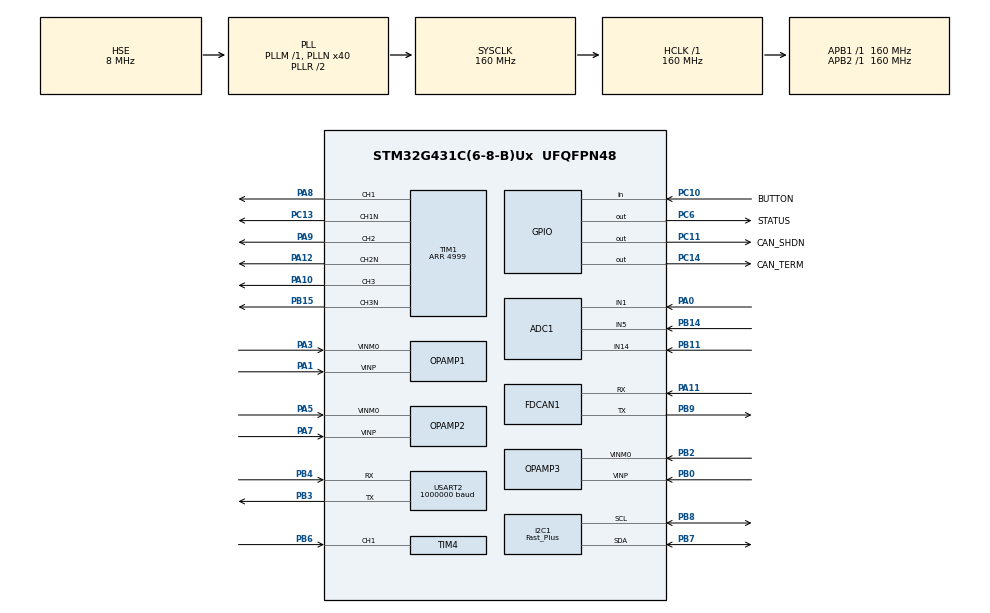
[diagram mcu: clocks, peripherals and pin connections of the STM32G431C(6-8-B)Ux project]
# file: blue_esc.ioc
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ADC1.Channel-0\#ChannelRegularConversion=ADC_CHANNEL_1
ADC1.Channel-3\#ChannelRegularConversion=ADC_CHANNEL_5
ADC1.Channel-4\#ChannelRegularConversion=ADC_CHANNEL_14
ADC1.ClockPrescaler=ADC_CLOCK_ASYNC_DIV4
ADC1.ContinuousConvMode=DISABLE
ADC1.DMAContinuousRequests=DISABLE
ADC1.EOCSelection=ADC_EOC_SEQ_CONV
ADC1.EnableRegularConversion=ENABLE
ADC1.NbrOfConversion=3
ADC1.NbrOfConversionFlag=1
ADC1.OffsetNumber-0\#ChannelRegularConversion=ADC_OFFSET_NONE
ADC1.OffsetNumber-3\#ChannelRegularConversion=ADC_OFFSET_NONE
ADC1.OffsetNumber-4\#ChannelRegularConversion=ADC_OFFSET_NONE
ADC1.Overrun=ADC_OVR_DATA_OVERWRITTEN
ADC1.Rank-0\#ChannelRegularConversion=1
ADC1.Rank-3\#ChannelRegularConversion=2
ADC1.Rank-4\#ChannelRegularConversion=3
ADC1.SamplingTime-0\#ChannelRegularConversion=ADC_SAMPLETIME_2CYCLES_5
ADC1.SamplingTime-3\#ChannelRegularConversion=ADC_SAMPLETIME_2CYCLES_5
ADC1.SamplingTime-4\#ChannelRegularConversion=ADC_SAMPLETIME_2CYCLES_5
ADC1.master=1
ADC2.Channel-0\#ChannelRegularConversion=ADC_CHANNEL_VOPAMP2
ADC2.Channel-1\#ChannelRegularConversion=ADC_CHANNEL_VOPAMP2
ADC2.Channel-2\#ChannelRegularConversion=ADC_CHANNEL_VOPAMP2
ADC2.ClockPrescaler=ADC_CLOCK_ASYNC_DIV4
ADC2.EOCSelection=ADC_EOC_SEQ_CONV
ADC2.ExternalTrigConv=ADC_EXTERNALTRIG_T1_TRGO
ADC2.NbrOfConversion=3
ADC2.NbrOfConversionFlag=1
ADC2.OffsetNumber-0\#ChannelRegularConversion=ADC_OFFSET_NONE
ADC2.OffsetNumber-1\#ChannelRegularConversion=ADC_OFFSET_NONE
ADC2.OffsetNumber-2\#ChannelRegularConversion=ADC_OFFSET_NONE
ADC2.Rank-0\#ChannelRegularConversion=1
ADC2.Rank-1\#ChannelRegularConversion=2
ADC2.Rank-2\#ChannelRegularConversion=3
ADC2.SamplingTime-0\#ChannelRegularConversion=ADC_SAMPLETIME_2CYCLES_5
ADC2.SamplingTime-1\#ChannelRegularConversion=ADC_SAMPLETIME_2CYCLES_5
ADC2.SamplingTime-2\#ChannelRegularConversion=ADC_SAMPLETIME_2CYCLES_5
Dma.ADC1.0.Direction=DMA_PERIPH_TO_MEMORY
Dma.ADC1.0.EventEnable=DISABLE
Dma.ADC1.0.Instance=DMA1_Channel1
Dma.ADC1.0.MemDataAlignment=DMA_MDATAALIGN_HALFWORD
Dma.ADC1.0.MemInc=DMA_MINC_ENABLE
Dma.ADC1.0.Mode=DMA_NORMAL
Dma.ADC1.0.PeriphDataAlignment=DMA_PDATAALIGN_HALFWORD
Dma.ADC1.0.PeriphInc=DMA_PINC_DISABLE
Dma.ADC1.0.Polarity=HAL_DMAMUX_REQ_GEN_RISING
Dma.ADC1.0.Priority=DMA_PRIORITY_LOW
Dma.ADC1.0.RequestNumber=1
Dma.ADC1.0.SignalID=NONE
Dma.ADC1.0.SyncEnable=DISABLE
Dma.ADC1.0.SyncPolarity=HAL_DMAMUX_SYNC_NO_EVENT
Dma.ADC1.0.SyncRequestNumber=1
Dma.ADC1.0.SyncSignalID=NONE
Dma.ADC2.1.Direction=DMA_PERIPH_TO_MEMORY
Dma.ADC2.1.EventEnable=DISABLE
Dma.ADC2.1.Instance=DMA1_Channel2
Dma.ADC2.1.MemDataAlignment=DMA_MDATAALIGN_HALFWORD
Dma.ADC2.1.MemInc=DMA_MINC_ENABLE
Dma.ADC2.1.Mode=DMA_CIRCULAR
Dma.ADC2.1.PeriphDataAlignment=DMA_PDATAALIGN_HALFWORD
Dma.ADC2.1.PeriphInc=DMA_PINC_DISABLE
Dma.ADC2.1.Polarity=HAL_DMAMUX_REQ_GEN_RISING
Dma.ADC2.1.Priority=DMA_PRIORITY_LOW
Dma.ADC2.1.RequestNumber=1
Dma.ADC2.1.SignalID=NONE
Dma.ADC2.1.SyncEnable=DISABLE
Dma.ADC2.1.SyncPolarity=HAL_DMAMUX_SYNC_NO_EVENT
Dma.ADC2.1.SyncRequestNumber=1
Dma.ADC2.1.SyncSignalID=NONE
Dma.Request0=ADC1
Dma.Request1=ADC2
Dma.Request2=USART2_RX
Dma.Request3=USART2_TX
Dma.USART2_RX.2.Direction=DMA_PERIPH_TO_MEMORY
Dma.USART2_RX.2.EventEnable=DISABLE
Dma.USART2_RX.2.Instance=DMA1_Channel3
Dma.USART2_RX.2.MemDataAlignment=DMA_MDATAALIGN_BYTE
Dma.USART2_RX.2.MemInc=DMA_MINC_ENABLE
Dma.USART2_RX.2.Mode=DMA_CIRCULAR
Dma.USART2_RX.2.PeriphDataAlignment=DMA_PDATAALIGN_BYTE
Dma.USART2_RX.2.PeriphInc=DMA_PINC_DISABLE
Dma.USART2_RX.2.Polarity=HAL_DMAMUX_REQ_GEN_RISING
Dma.USART2_RX.2.Priority=DMA_PRIORITY_LOW
Dma.USART2_RX.2.RequestNumber=1
Dma.USART2_RX.2.SignalID=NONE
Dma.USART2_RX.2.SyncEnable=DISABLE
Dma.USART2_RX.2.SyncPolarity=HAL_DMAMUX_SYNC_NO_EVENT
Dma.USART2_RX.2.SyncRequestNumber=1
Dma.USART2_RX.2.SyncSignalID=NONE
Dma.USART2_TX.3.Direction=DMA_MEMORY_TO_PERIPH
Dma.USART2_TX.3.EventEnable=DISABLE
Dma.USART2_TX.3.Instance=DMA1_Channel4
Dma.USART2_TX.3.MemDataAlignment=DMA_MDATAALIGN_BYTE
Dma.USART2_TX.3.MemInc=DMA_MINC_ENABLE
Dma.USART2_TX.3.Mode=DMA_NORMAL
Dma.USART2_TX.3.PeriphDataAlignment=DMA_PDATAALIGN_BYTE
Dma.USART2_TX.3.PeriphInc=DMA_PINC_DISABLE
Dma.USART2_TX.3.Polarity=HAL_DMAMUX_REQ_GEN_RISING
Dma.USART2_TX.3.Priority=DMA_PRIORITY_LOW
Dma.USART2_TX.3.RequestNumber=1
Dma.USART2_TX.3.SignalID=NONE
Dma.USART2_TX.3.SyncEnable=DISABLE
Dma.USART2_TX.3.SyncPolarity=HAL_DMAMUX_SYNC_NO_EVENT
Dma.USART2_TX.3.SyncRequestNumber=1
Dma.USART2_TX.3.SyncSignalID=NONE
FDCAN1.AutoRetransmission=ENABLE
FDCAN1.CalculateBaudRateNominal=1000000
FDCAN1.CalculateTimeBitNominal=1000
FDCAN1.CalculateTimeQuantumNominal=12.5
FDCAN1.ClockDivider=FDCAN_CLOCK_DIV2
FDCAN1.DataSyncJumpWidth=4
FDCAN1.DataTimeSeg1=5
FDCAN1.DataTimeSeg2=5
FDCAN1.NominalPrescaler=1
FDCAN1.NominalSyncJumpWidth=16
FDCAN1.NominalTimeSeg1=63
FDCAN1.NominalTimeSeg2=16
FDCAN1.StdFiltersNbr=1
FDCAN1.TransmitPause=ENABLE
I2C1.I2C_Speed_Mode=I2C_Fast_Plus
I2C1.Timing=0x00701F6B
Mcu.Family=STM32G4
Mcu.Name=STM32G431C(6-8-B)Ux
Mcu.Package=UFQFPN48
NVIC.ADC1_2_IRQn=true\:0\:0\:false\:false\:true\:true\:true\:true
NVIC.CORDIC_IRQn=true\:0\:0\:false\:false\:true\:true\:true\:true
NVIC.DMA1_Channel1_IRQn=true\:0\:0\:false\:false\:true\:false\:true\:true
NVIC.DMA1_Channel2_IRQn=true\:0\:0\:false\:false\:true\:false\:true\:true
NVIC.DMA1_Channel3_IRQn=true\:0\:0\:false\:false\:true\:false\:true\:true
NVIC.DMA1_Channel4_IRQn=true\:0\:0\:false\:false\:true\:false\:true\:true
NVIC.FDCAN1_IT0_IRQn=true\:0\:0\:false\:false\:true\:true\:true\:true
NVIC.PriorityGroup=NVIC_PRIORITYGROUP_4
NVIC.TIM1_UP_TIM16_IRQn=true\:0\:0\:false\:false\:true\:true\:true\:true
NVIC.TIM4_IRQn=true\:0\:0\:false\:false\:true\:true\:true\:true
NVIC.USART2_IRQn=true\:0\:0\:false\:false\:true\:true\:true\:true
OPAMP1.PgaGain=OPAMP_PGA_GAIN_16_OR_MINUS_15
OPAMP2.PgaGain=OPAMP_PGA_GAIN_16_OR_MINUS_15
OPAMP3.PgaGain=OPAMP_PGA_GAIN_16_OR_MINUS_15
PA0.Mode=IN1-Single-Ended
PA0.Signal=ADC1_IN1
PA1.Mode=PGA Internally connected_IO0_BIAS
PA1.Signal=OPAMP1_VINP
PA10.Signal=S_TIM1_CH3
PA11.Mode=FDCAN_Activate
PA11.Signal=FDCAN1_RX
PA12.Mode=PWM Generation2 CH2 CH2N
PA12.Signal=TIM1_CH2N
PA13.Mode=Serial_Wire
PA13.Signal=SYS_JTMS-SWDIO
PA14.Mode=Serial_Wire
PA14.Signal=SYS_JTCK-SWCLK
PA3.Mode=PGA Internally connected_IO0_BIAS
PA3.Signal=OPAMP1_VINM0
PA5.Mode=PGA Internally connected_IO0_BIAS
PA5.Signal=OPAMP2_VINM0
PA7.Mode=PGA Internally connected_IO0_BIAS
PA7.Signal=OPAMP2_VINP
PA8.Signal=S_TIM1_CH1
PA9.Signal=S_TIM1_CH2
PB0.Mode=PGA Internally connected_IO0_BIAS
PB0.Signal=OPAMP3_VINP
PB11.Mode=IN14-Single-Ended
PB11.Signal=ADC1_IN14
PB14.Mode=IN5-Single-Ended
PB14.Signal=ADC1_IN5
PB15.Mode=PWM Generation3 CH3 CH3N
PB15.Signal=TIM1_CH3N
PB2.Mode=PGA Internally connected_IO0_BIAS
PB2.Signal=OPAMP3_VINM0
PB3.Mode=Asynchronous
PB3.Signal=USART2_TX
PB4.Mode=Asynchronous
PB4.Signal=USART2_RX
PB6.Signal=S_TIM4_CH1
PB7.Mode=I2C
PB7.Signal=I2C1_SDA
PB8-BOOT0.Mode=I2C
PB8-BOOT0.Signal=I2C1_SCL
PB9.Mode=FDCAN_Activate
PB9.Signal=FDCAN1_TX
PC10.GPIO_Label=BUTTON
PC10.Signal=GPIO_Input
PC11.GPIO_Label=CAN_SHDN
PC11.Signal=GPIO_Output
PC13.Mode=PWM Generation1 CH1 CH1N
PC13.Signal=TIM1_CH1N
PC14-OSC32_IN.GPIO_Label=CAN_TERM
PC14-OSC32_IN.Signal=GPIO_Output
PC6.GPIO_Label=STATUS
PC6.Signal=GPIO_Output
PF0-OSC_IN.Mode=HSE-External-Oscillator
PF0-OSC_IN.Signal=RCC_OSC_IN
PF1-OSC_OUT.Mode=HSE-External-Oscillator
PF1-OSC_OUT.Signal=RCC_OSC_OUT
ProjectManager.HeapSize=0x200
ProjectManager.StackSize=0x400
ProjectManager.TargetToolchain=Makefile
RCC.ADC12Freq_Value=160000000
RCC.AHBFreq_Value=160000000
RCC.APB1Freq_Value=160000000
RCC.APB1TimFreq_Value=160000000
RCC.APB2Freq_Value=160000000
RCC.APB2TimFreq_Value=160000000
RCC.CortexFreq_Value=160000000
RCC.EXTERNAL_CLOCK_VALUE=12288000
RCC.HCLKFreq_Value=160000000
RCC.HSE_VALUE=8000000
RCC.HSI48_VALUE=48000000
RCC.HSI_VALUE=16000000
RCC.LSE_VALUE=32768
RCC.PLLN=40
RCC.PLLSourceVirtual=RCC_PLLSOURCE_HSE
RCC.SYSCLKFreq_VALUE=160000000
RCC.SYSCLKSource=RCC_SYSCLKSOURCE_PLLCLK
RCC.USBFreq_Value=160000000
RCC.VCOOutputFreq_Value=320000000
SH.S_TIM1_CH1.0=TIM1_CH1,PWM Generation1 CH1 CH1N
SH.S_TIM1_CH2.0=TIM1_CH2,PWM Generation2 CH2 CH2N
SH.S_TIM1_CH3.0=TIM1_CH3,PWM Generation3 CH3 CH3N
SH.S_TIM4_CH1.0=TIM4_CH1,PWM_Input_1
TIM1.Channel-PWM\ Generation1\ CH1\ CH1N=TIM_CHANNEL_1
TIM1.Channel-PWM\ Generation2\ CH2\ CH2N=TIM_CHANNEL_2
TIM1.Channel-PWM\ Generation3\ CH3\ CH3N=TIM_CHANNEL_3
TIM1.CounterMode=TIM_COUNTERMODE_CENTERALIGNED1
TIM1.DeadTime=128
TIM1.PeriodNoDither=4999
TIM1.TIM_MasterOutputTrigger=TIM_TRGO_OC1REF
TIM1.TIM_MasterSlaveMode=TIM_MASTERSLAVEMODE_ENABLE
TIM4.Prescaler=2
TIM6.Prescaler=15
USART2.BaudRate=1000000
USART2.VirtualMode-Asynchronous=VM_ASYNC
VP_ADC1_OPAMP_INTERNAL1.Mode=IN-OPAMP1
VP_ADC2_OPAMP_INTERNAL2.Mode=IN-OPAMP2
VP_ADC2_OPAMP_INTERNAL3.Mode=IN-OPAMP3
VP_CORDIC_VS_CORDIC.Mode=CORDIC_Activate
VP_SYS_VS_DBSignals.Mode=DisableDeadBatterySignals
VP_TIM1_VS_ClockSourceINT.Mode=Internal
VP_TIM6_VS_ClockSourceINT.Mode=Enable_Timer
board=custom

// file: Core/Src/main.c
/* USER CODE BEGIN Header */
/**
 ******************************************************************************
 * @file           : main.c
 * @brief          : Main program body
 ******************************************************************************
 * @attention
 *
 * Copyright (c) 2023 STMicroelectronics.
 * All rights reserved.
 *
 * This software is licensed under terms that can be found in the LICENSE file
 * in the root directory of this software component.
 * If no LICENSE file comes with this software, it is provided AS-IS.
 *
 ******************************************************************************
 */
/* USER CODE END Header */
#include "main.h"

/* USER CODE BEGIN Includes */
// #include "foc.h"
#include "stdio.h"
#include "string.h"
/* USER CODE END Includes */

ADC_HandleTypeDef hadc1;
ADC_HandleTypeDef hadc2;
DMA_HandleTypeDef hdma_adc1;
DMA_HandleTypeDef hdma_adc2;

CORDIC_HandleTypeDef hcordic;

FDCAN_HandleTypeDef hfdcan1;

I2C_HandleTypeDef hi2c1;

OPAMP_HandleTypeDef hopamp1;
OPAMP_HandleTypeDef hopamp2;
OPAMP_HandleTypeDef hopamp3;

TIM_HandleTypeDef htim1;
TIM_HandleTypeDef htim4;
TIM_HandleTypeDef htim6;

UART_HandleTypeDef huart2;
DMA_HandleTypeDef hdma_usart2_rx;
DMA_HandleTypeDef hdma_usart2_tx;

/* USER CODE BEGIN PV */
volatile uint8_t adc_conversion_complete = 0;
/* USER CODE END PV */

void SystemClock_Config(void);
static void MX_GPIO_Init(void);
static void MX_DMA_Init(void);
static void MX_ADC1_Init(void);
static void MX_TIM1_Init(void);
static void MX_TIM4_Init(void);
static void MX_TIM6_Init(void);
static void MX_ADC2_Init(void);
static void MX_OPAMP1_Init(void);
static void MX_OPAMP2_Init(void);
static void MX_OPAMP3_Init(void);
static void MX_FDCAN1_Init(void);
static void MX_I2C1_Init(void);
static void MX_USART2_UART_Init(void);
static void MX_CORDIC_Init(void);

/* USER CODE BEGIN 0 */

uint16_t start_time = 0;
uint16_t end_time = 0;
uint16_t elapsed_time = 0;

volatile uint16_t ADC1_DMA1[5] = {0, 0, 0, 0, 0}; // Dummy conversion (ST workaround for -x),

void HAL_TIM_PeriodElapsedCallback(TIM_HandleTypeDef *htim)
{
  if (htim->Instance == TIM1)
  {
    start_time = __HAL_TIM_GET_COUNTER(&htim6);
    HAL_GPIO_TogglePin(STATUS_GPIO_Port, STATUS_Pin);

    // ##################
    // Put FOC Code Here
    // ##################

    end_time = __HAL_TIM_GET_COUNTER(&htim6);
  }
}

// current sense
void HAL_ADC_ConvCpltCallback(ADC_HandleTypeDef *hadc)
{
  adc_conversion_complete = 1;
  // HAL_GPIO_TogglePin(STATUS_GPIO_Port, STATUS_Pin);

  // adc_interrupt(hadc);
}

/* USER CODE END 0 */

int main(void)
{

  /* MCU Configuration--------------------------------------------------------*/

  /* Reset of all peripherals, Initializes the Flash interface and the Systick. */
  HAL_Init();

  /* Configure the system clock */
  SystemClock_Config();

  /* Initialize all configured peripherals */
  MX_GPIO_Init();
  MX_DMA_Init();
  MX_ADC1_Init();
  MX_TIM1_Init();
  MX_TIM4_Init();
  MX_TIM6_Init();
  MX_ADC2_Init();
  MX_OPAMP1_Init();
  MX_OPAMP2_Init();
  MX_OPAMP3_Init();
  MX_FDCAN1_Init();
  MX_I2C1_Init();
  MX_USART2_UART_Init();
  MX_CORDIC_Init();
  /* USER CODE BEGIN 2 */

  // 1*10^(-7)s Base Timer Begin (used for time calculation)
  HAL_TIM_Base_Start(&htim6);

  // PWM Begin
  // HAL_TIM_PWM_Start(&htim1, TIM_CHANNEL_1);
  // HAL_TIM_PWM_Start(&htim1, TIM_CHANNEL_2);
  // HAL_TIM_PWM_Start(&htim1, TIM_CHANNEL_3);
  // HAL_TIM_Base_Start_IT(&htim1);

  // init_foc();

  // HAL_ADCEx_Calibration_Start(&hadc1,ADC_SINGLE_ENDED);

  // HAL_ADC_Start_DMA(&hadc1, (uint32_t *)ADC1_DMA1, 1);
  char txbuf[100];
  /* USER CODE END 2 */

  /* Infinite loop */
  while (1)
  {

    /* USER CODE BEGIN 3 */
     HAL_ADC_Start_DMA(&hadc1, (uint32_t *)ADC1_DMA1, 3);
     while(adc_conversion_complete == 0)
     {
        snprintf(txbuf, 100, "Nothing\n");
        HAL_UART_Transmit(&huart2, (uint8_t *)txbuf, strlen(txbuf), HAL_MAX_DELAY);
        // HAL_ADC_Start_DMA(&hadc1, (uint32_t *)ADC1_DMA1, 1);/
     }
     adc_conversion_complete = 0;
     snprintf(txbuf, 100, "CH1 = %d\tCH2 = %d\tCH3 = %d\tCH4 = %d\n", ADC1_DMA1[0], ADC1_DMA1[1], ADC1_DMA1[2], ADC1_DMA1[3]);
     HAL_UART_Transmit(&huart2, (uint8_t *)txbuf, strlen(txbuf), HAL_MAX_DELAY);

     HAL_GPIO_TogglePin(STATUS_GPIO_Port, STATUS_Pin);
     HAL_Delay(100);

  }
  /* USER CODE END 3 */
}

void SystemClock_Config(void)
{
  RCC_OscInitTypeDef RCC_OscInitStruct = {0};
  RCC_ClkInitTypeDef RCC_ClkInitStruct = {0};

  /** Configure the main internal regulator output voltage
  */
  HAL_PWREx_ControlVoltageScaling(PWR_REGULATOR_VOLTAGE_SCALE1_BOOST);

  /** Initializes the RCC Oscillators according to the specified parameters
  * in the RCC_OscInitTypeDef structure.
  */
  RCC_OscInitStruct.OscillatorType = RCC_OSCILLATORTYPE_HSE;
  RCC_OscInitStruct.HSEState = RCC_HSE_ON;
  RCC_OscInitStruct.PLL.PLLState = RCC_PLL_ON;
  RCC_OscInitStruct.PLL.PLLSource = RCC_PLLSOURCE_HSE;
  RCC_OscInitStruct.PLL.PLLM = RCC_PLLM_DIV1;
  RCC_OscInitStruct.PLL.PLLN = 40;
  RCC_OscInitStruct.PLL.PLLP = RCC_PLLP_DIV2;
  RCC_OscInitStruct.PLL.PLLQ = RCC_PLLQ_DIV2;
  RCC_OscInitStruct.PLL.PLLR = RCC_PLLR_DIV2;
  if (HAL_RCC_OscConfig(&RCC_OscInitStruct) != HAL_OK)
  {
    Error_Handler();
  }

  /** Initializes the CPU, AHB and APB buses clocks
  */
  RCC_ClkInitStruct.ClockType = RCC_CLOCKTYPE_HCLK|RCC_CLOCKTYPE_SYSCLK
                              |RCC_CLOCKTYPE_PCLK1|RCC_CLOCKTYPE_PCLK2;
  RCC_ClkInitStruct.SYSCLKSource = RCC_SYSCLKSOURCE_PLLCLK;
  RCC_ClkInitStruct.AHBCLKDivider = RCC_SYSCLK_DIV1;
  RCC_ClkInitStruct.APB1CLKDivider = RCC_HCLK_DIV1;
  RCC_ClkInitStruct.APB2CLKDivider = RCC_HCLK_DIV1;

  if (HAL_RCC_ClockConfig(&RCC_ClkInitStruct, FLASH_LATENCY_4) != HAL_OK)
  {
    Error_Handler();
  }
}

static void MX_ADC1_Init(void)
{

  ADC_MultiModeTypeDef multimode = {0};
  ADC_ChannelConfTypeDef sConfig = {0};

  /** Common config
  */
  hadc1.Instance = ADC1;
  hadc1.Init.ClockPrescaler = ADC_CLOCK_ASYNC_DIV4;
  hadc1.Init.Resolution = ADC_RESOLUTION_12B;
  hadc1.Init.DataAlign = ADC_DATAALIGN_RIGHT;
  hadc1.Init.GainCompensation = 0;
  hadc1.Init.ScanConvMode = ADC_SCAN_ENABLE;
  hadc1.Init.EOCSelection = ADC_EOC_SEQ_CONV;
  hadc1.Init.LowPowerAutoWait = DISABLE;
  hadc1.Init.ContinuousConvMode = DISABLE;
  hadc1.Init.NbrOfConversion = 3;
  hadc1.Init.DiscontinuousConvMode = DISABLE;
  hadc1.Init.ExternalTrigConv = ADC_SOFTWARE_START;
  hadc1.Init.ExternalTrigConvEdge = ADC_EXTERNALTRIGCONVEDGE_NONE;
  hadc1.Init.DMAContinuousRequests = DISABLE;
  hadc1.Init.Overrun = ADC_OVR_DATA_OVERWRITTEN;
  hadc1.Init.OversamplingMode = DISABLE;
  if (HAL_ADC_Init(&hadc1) != HAL_OK)
  {
    Error_Handler();
  }

  /** Configure the ADC multi-mode
  */
  multimode.Mode = ADC_MODE_INDEPENDENT;
  if (HAL_ADCEx_MultiModeConfigChannel(&hadc1, &multimode) != HAL_OK)
  {
    Error_Handler();
  }

  /** Configure Regular Channel
  */
  sConfig.Channel = ADC_CHANNEL_1;
  sConfig.Rank = ADC_REGULAR_RANK_1;
  sConfig.SamplingTime = ADC_SAMPLETIME_2CYCLES_5;
  sConfig.SingleDiff = ADC_SINGLE_ENDED;
  sConfig.OffsetNumber = ADC_OFFSET_NONE;
  sConfig.Offset = 0;
  if (HAL_ADC_ConfigChannel(&hadc1, &sConfig) != HAL_OK)
  {
    Error_Handler();
  }

  /** Configure Regular Channel
  */
  sConfig.Channel = ADC_CHANNEL_5;
  sConfig.Rank = ADC_REGULAR_RANK_2;
  if (HAL_ADC_ConfigChannel(&hadc1, &sConfig) != HAL_OK)
  {
    Error_Handler();
  }

  /** Configure Regular Channel
  */
  sConfig.Channel = ADC_CHANNEL_14;
  sConfig.Rank = ADC_REGULAR_RANK_3;
  if (HAL_ADC_ConfigChannel(&hadc1, &sConfig) != HAL_OK)
  {
    Error_Handler();
  }

}

static void MX_ADC2_Init(void)
{

  ADC_ChannelConfTypeDef sConfig = {0};

  /** Common config
  */
  hadc2.Instance = ADC2;
  hadc2.Init.ClockPrescaler = ADC_CLOCK_ASYNC_DIV4;
  hadc2.Init.Resolution = ADC_RESOLUTION_12B;
  hadc2.Init.DataAlign = ADC_DATAALIGN_RIGHT;
  hadc2.Init.GainCompensation = 0;
  hadc2.Init.ScanConvMode = ADC_SCAN_ENABLE;
  hadc2.Init.EOCSelection = ADC_EOC_SEQ_CONV;
  hadc2.Init.LowPowerAutoWait = DISABLE;
  hadc2.Init.ContinuousConvMode = DISABLE;
  hadc2.Init.NbrOfConversion = 3;
  hadc2.Init.DiscontinuousConvMode = DISABLE;
  hadc2.Init.ExternalTrigConv = ADC_EXTERNALTRIG_T1_TRGO;
  hadc2.Init.ExternalTrigConvEdge = ADC_EXTERNALTRIGCONVEDGE_RISING;
  hadc2.Init.DMAContinuousRequests = DISABLE;
  hadc2.Init.Overrun = ADC_OVR_DATA_PRESERVED;
  hadc2.Init.OversamplingMode = DISABLE;
  if (HAL_ADC_Init(&hadc2) != HAL_OK)
  {
    Error_Handler();
  }

  /** Configure Regular Channel
  */
  sConfig.Channel = ADC_CHANNEL_VOPAMP2;
  sConfig.Rank = ADC_REGULAR_RANK_1;
  sConfig.SamplingTime = ADC_SAMPLETIME_2CYCLES_5;
  sConfig.SingleDiff = ADC_SINGLE_ENDED;
  sConfig.OffsetNumber = ADC_OFFSET_NONE;
  sConfig.Offset = 0;
  if (HAL_ADC_ConfigChannel(&hadc2, &sConfig) != HAL_OK)
  {
    Error_Handler();
  }

  /** Configure Regular Channel
  */
  sConfig.Rank = ADC_REGULAR_RANK_2;
  if (HAL_ADC_ConfigChannel(&hadc2, &sConfig) != HAL_OK)
  {
    Error_Handler();
  }

  /** Configure Regular Channel
  */
  sConfig.Rank = ADC_REGULAR_RANK_3;
  if (HAL_ADC_ConfigChannel(&hadc2, &sConfig) != HAL_OK)
  {
    Error_Handler();
  }

}

static void MX_CORDIC_Init(void)
{

  hcordic.Instance = CORDIC;
  if (HAL_CORDIC_Init(&hcordic) != HAL_OK)
  {
    Error_Handler();
  }

}

static void MX_FDCAN1_Init(void)
{

  hfdcan1.Instance = FDCAN1;
  hfdcan1.Init.ClockDivider = FDCAN_CLOCK_DIV2;
  hfdcan1.Init.FrameFormat = FDCAN_FRAME_CLASSIC;
  hfdcan1.Init.Mode = FDCAN_MODE_NORMAL;
  hfdcan1.Init.AutoRetransmission = ENABLE;
  hfdcan1.Init.TransmitPause = ENABLE;
  hfdcan1.Init.ProtocolException = DISABLE;
  hfdcan1.Init.NominalPrescaler = 1;
  hfdcan1.Init.NominalSyncJumpWidth = 16;
  hfdcan1.Init.NominalTimeSeg1 = 63;
  hfdcan1.Init.NominalTimeSeg2 = 16;
  hfdcan1.Init.DataPrescaler = 1;
  hfdcan1.Init.DataSyncJumpWidth = 4;
  hfdcan1.Init.DataTimeSeg1 = 5;
  hfdcan1.Init.DataTimeSeg2 = 5;
  hfdcan1.Init.StdFiltersNbr = 1;
  hfdcan1.Init.ExtFiltersNbr = 0;
  hfdcan1.Init.TxFifoQueueMode = FDCAN_TX_FIFO_OPERATION;
  if (HAL_FDCAN_Init(&hfdcan1) != HAL_OK)
  {
    Error_Handler();
  }

}

static void MX_I2C1_Init(void)
{

  hi2c1.Instance = I2C1;
  hi2c1.Init.Timing = 0x00701F6B;
  hi2c1.Init.OwnAddress1 = 0;
  hi2c1.Init.AddressingMode = I2C_ADDRESSINGMODE_7BIT;
  hi2c1.Init.DualAddressMode = I2C_DUALADDRESS_DISABLE;
  hi2c1.Init.OwnAddress2 = 0;
  hi2c1.Init.OwnAddress2Masks = I2C_OA2_NOMASK;
  hi2c1.Init.GeneralCallMode = I2C_GENERALCALL_DISABLE;
  hi2c1.Init.NoStretchMode = I2C_NOSTRETCH_DISABLE;
  if (HAL_I2C_Init(&hi2c1) != HAL_OK)
  {
    Error_Handler();
  }

  /** Configure Analogue filter
  */
  if (HAL_I2CEx_ConfigAnalogFilter(&hi2c1, I2C_ANALOGFILTER_ENABLE) != HAL_OK)
  {
    Error_Handler();
  }

  /** Configure Digital filter
  */
  if (HAL_I2CEx_ConfigDigitalFilter(&hi2c1, 0) != HAL_OK)
  {
    Error_Handler();
  }

  /** I2C Fast mode Plus enable
  */
  __HAL_SYSCFG_FASTMODEPLUS_ENABLE(I2C_FASTMODEPLUS_I2C1);

}

static void MX_OPAMP1_Init(void)
{

  hopamp1.Instance = OPAMP1;
  hopamp1.Init.PowerMode = OPAMP_POWERMODE_NORMALSPEED;
  hopamp1.Init.Mode = OPAMP_PGA_MODE;
  hopamp1.Init.NonInvertingInput = OPAMP_NONINVERTINGINPUT_IO0;
  hopamp1.Init.InternalOutput = ENABLE;
  hopamp1.Init.TimerControlledMuxmode = OPAMP_TIMERCONTROLLEDMUXMODE_DISABLE;
  hopamp1.Init.PgaConnect = OPAMP_PGA_CONNECT_INVERTINGINPUT_IO0_BIAS;
  hopamp1.Init.PgaGain = OPAMP_PGA_GAIN_16_OR_MINUS_15;
  hopamp1.Init.UserTrimming = OPAMP_TRIMMING_FACTORY;
  if (HAL_OPAMP_Init(&hopamp1) != HAL_OK)
  {
    Error_Handler();
  }

}

static void MX_OPAMP2_Init(void)
{

  hopamp2.Instance = OPAMP2;
  hopamp2.Init.PowerMode = OPAMP_POWERMODE_NORMALSPEED;
  hopamp2.Init.Mode = OPAMP_PGA_MODE;
  hopamp2.Init.NonInvertingInput = OPAMP_NONINVERTINGINPUT_IO0;
  hopamp2.Init.InternalOutput = ENABLE;
  hopamp2.Init.TimerControlledMuxmode = OPAMP_TIMERCONTROLLEDMUXMODE_DISABLE;
  hopamp2.Init.PgaConnect = OPAMP_PGA_CONNECT_INVERTINGINPUT_IO0_BIAS;
  hopamp2.Init.PgaGain = OPAMP_PGA_GAIN_16_OR_MINUS_15;
  hopamp2.Init.UserTrimming = OPAMP_TRIMMING_FACTORY;
  if (HAL_OPAMP_Init(&hopamp2) != HAL_OK)
  {
    Error_Handler();
  }

}

static void MX_OPAMP3_Init(void)
{

  hopamp3.Instance = OPAMP3;
  hopamp3.Init.PowerMode = OPAMP_POWERMODE_NORMALSPEED;
  hopamp3.Init.Mode = OPAMP_PGA_MODE;
  hopamp3.Init.NonInvertingInput = OPAMP_NONINVERTINGINPUT_IO0;
  hopamp3.Init.InternalOutput = ENABLE;
  hopamp3.Init.TimerControlledMuxmode = OPAMP_TIMERCONTROLLEDMUXMODE_DISABLE;
  hopamp3.Init.PgaConnect = OPAMP_PGA_CONNECT_INVERTINGINPUT_IO0_BIAS;
  hopamp3.Init.PgaGain = OPAMP_PGA_GAIN_16_OR_MINUS_15;
  hopamp3.Init.UserTrimming = OPAMP_TRIMMING_FACTORY;
  if (HAL_OPAMP_Init(&hopamp3) != HAL_OK)
  {
    Error_Handler();
  }

}

static void MX_TIM1_Init(void)
{

  TIM_ClockConfigTypeDef sClockSourceConfig = {0};
  TIM_MasterConfigTypeDef sMasterConfig = {0};
  TIM_OC_InitTypeDef sConfigOC = {0};
  TIM_BreakDeadTimeConfigTypeDef sBreakDeadTimeConfig = {0};

  htim1.Instance = TIM1;
  htim1.Init.Prescaler = 0;
  htim1.Init.CounterMode = TIM_COUNTERMODE_CENTERALIGNED1;
  htim1.Init.Period = 4999;
  htim1.Init.ClockDivision = TIM_CLOCKDIVISION_DIV1;
  htim1.Init.RepetitionCounter = 0;
  htim1.Init.AutoReloadPreload = TIM_AUTORELOAD_PRELOAD_DISABLE;
  if (HAL_TIM_Base_Init(&htim1) != HAL_OK)
  {
    Error_Handler();
  }
  sClockSourceConfig.ClockSource = TIM_CLOCKSOURCE_INTERNAL;
  if (HAL_TIM_ConfigClockSource(&htim1, &sClockSourceConfig) != HAL_OK)
  {
    Error_Handler();
  }
  if (HAL_TIM_PWM_Init(&htim1) != HAL_OK)
  {
    Error_Handler();
  }
  sMasterConfig.MasterOutputTrigger = TIM_TRGO_OC1REF;
  sMasterConfig.MasterOutputTrigger2 = TIM_TRGO2_RESET;
  sMasterConfig.MasterSlaveMode = TIM_MASTERSLAVEMODE_ENABLE;
  if (HAL_TIMEx_MasterConfigSynchronization(&htim1, &sMasterConfig) != HAL_OK)
  {
    Error_Handler();
  }
  sConfigOC.OCMode = TIM_OCMODE_PWM1;
  sConfigOC.Pulse = 0;
  sConfigOC.OCPolarity = TIM_OCPOLARITY_HIGH;
  sConfigOC.OCNPolarity = TIM_OCNPOLARITY_HIGH;
  sConfigOC.OCFastMode = TIM_OCFAST_DISABLE;
  sConfigOC.OCIdleState = TIM_OCIDLESTATE_RESET;
  sConfigOC.OCNIdleState = TIM_OCNIDLESTATE_RESET;
  if (HAL_TIM_PWM_ConfigChannel(&htim1, &sConfigOC, TIM_CHANNEL_1) != HAL_OK)
  {
    Error_Handler();
  }
  if (HAL_TIM_PWM_ConfigChannel(&htim1, &sConfigOC, TIM_CHANNEL_2) != HAL_OK)
  {
    Error_Handler();
  }
  if (HAL_TIM_PWM_ConfigChannel(&htim1, &sConfigOC, TIM_CHANNEL_3) != HAL_OK)
  {
    Error_Handler();
  }
  sBreakDeadTimeConfig.OffStateRunMode = TIM_OSSR_DISABLE;
  sBreakDeadTimeConfig.OffStateIDLEMode = TIM_OSSI_DISABLE;
  sBreakDeadTimeConfig.LockLevel = TIM_LOCKLEVEL_OFF;
  sBreakDeadTimeConfig.DeadTime = 128;
  sBreakDeadTimeConfig.BreakState = TIM_BREAK_DISABLE;
  sBreakDeadTimeConfig.BreakPolarity = TIM_BREAKPOLARITY_HIGH;
  sBreakDeadTimeConfig.BreakFilter = 0;
  sBreakDeadTimeConfig.BreakAFMode = TIM_BREAK_AFMODE_INPUT;
  sBreakDeadTimeConfig.Break2State = TIM_BREAK2_DISABLE;
  sBreakDeadTimeConfig.Break2Polarity = TIM_BREAK2POLARITY_HIGH;
  sBreakDeadTimeConfig.Break2Filter = 0;
  sBreakDeadTimeConfig.Break2AFMode = TIM_BREAK_AFMODE_INPUT;
  sBreakDeadTimeConfig.AutomaticOutput = TIM_AUTOMATICOUTPUT_DISABLE;
  if (HAL_TIMEx_ConfigBreakDeadTime(&htim1, &sBreakDeadTimeConfig) != HAL_OK)
  {
    Error_Handler();
  }
  HAL_TIM_MspPostInit(&htim1);

}

static void MX_TIM4_Init(void)
{

  TIM_SlaveConfigTypeDef sSlaveConfig = {0};
  TIM_IC_InitTypeDef sConfigIC = {0};
  TIM_MasterConfigTypeDef sMasterConfig = {0};

  htim4.Instance = TIM4;
  htim4.Init.Prescaler = 2;
  htim4.Init.CounterMode = TIM_COUNTERMODE_UP;
  htim4.Init.Period = 65535;
  htim4.Init.ClockDivision = TIM_CLOCKDIVISION_DIV1;
  htim4.Init.AutoReloadPreload = TIM_AUTORELOAD_PRELOAD_DISABLE;
  if (HAL_TIM_IC_Init(&htim4) != HAL_OK)
  {
    Error_Handler();
  }
  sSlaveConfig.SlaveMode = TIM_SLAVEMODE_RESET;
  sSlaveConfig.InputTrigger = TIM_TS_TI1FP1;
  sSlaveConfig.TriggerPolarity = TIM_INPUTCHANNELPOLARITY_RISING;
  sSlaveConfig.TriggerPrescaler = TIM_ICPSC_DIV1;
  sSlaveConfig.TriggerFilter = 0;
  if (HAL_TIM_SlaveConfigSynchro(&htim4, &sSlaveConfig) != HAL_OK)
  {
    Error_Handler();
  }
  sConfigIC.ICPolarity = TIM_INPUTCHANNELPOLARITY_RISING;
  sConfigIC.ICSelection = TIM_ICSELECTION_DIRECTTI;
  sConfigIC.ICPrescaler = TIM_ICPSC_DIV1;
  sConfigIC.ICFilter = 0;
  if (HAL_TIM_IC_ConfigChannel(&htim4, &sConfigIC, TIM_CHANNEL_1) != HAL_OK)
  {
    Error_Handler();
  }
  sConfigIC.ICPolarity = TIM_INPUTCHANNELPOLARITY_FALLING;
  sConfigIC.ICSelection = TIM_ICSELECTION_INDIRECTTI;
  if (HAL_TIM_IC_ConfigChannel(&htim4, &sConfigIC, TIM_CHANNEL_2) != HAL_OK)
  {
    Error_Handler();
  }
  sMasterConfig.MasterOutputTrigger = TIM_TRGO_RESET;
  sMasterConfig.MasterSlaveMode = TIM_MASTERSLAVEMODE_DISABLE;
  if (HAL_TIMEx_MasterConfigSynchronization(&htim4, &sMasterConfig) != HAL_OK)
  {
    Error_Handler();
  }

}

static void MX_TIM6_Init(void)
{

  TIM_MasterConfigTypeDef sMasterConfig = {0};

  htim6.Instance = TIM6;
  htim6.Init.Prescaler = 15;
  htim6.Init.CounterMode = TIM_COUNTERMODE_UP;
  htim6.Init.Period = 65535;
  htim6.Init.AutoReloadPreload = TIM_AUTORELOAD_PRELOAD_DISABLE;
  if (HAL_TIM_Base_Init(&htim6) != HAL_OK)
  {
    Error_Handler();
  }
  sMasterConfig.MasterOutputTrigger = TIM_TRGO_RESET;
  sMasterConfig.MasterSlaveMode = TIM_MASTERSLAVEMODE_DISABLE;
  if (HAL_TIMEx_MasterConfigSynchronization(&htim6, &sMasterConfig) != HAL_OK)
  {
    Error_Handler();
  }

}

static void MX_USART2_UART_Init(void)
{

  huart2.Instance = USART2;
  huart2.Init.BaudRate = 1000000;
  huart2.Init.WordLength = UART_WORDLENGTH_8B;
  huart2.Init.StopBits = UART_STOPBITS_1;
  huart2.Init.Parity = UART_PARITY_NONE;
  huart2.Init.Mode = UART_MODE_TX_RX;
  huart2.Init.HwFlowCtl = UART_HWCONTROL_NONE;
  huart2.Init.OverSampling = UART_OVERSAMPLING_16;
  huart2.Init.OneBitSampling = UART_ONE_BIT_SAMPLE_DISABLE;
  huart2.Init.ClockPrescaler = UART_PRESCALER_DIV1;
  huart2.AdvancedInit.AdvFeatureInit = UART_ADVFEATURE_NO_INIT;
  if (HAL_UART_Init(&huart2) != HAL_OK)
  {
    Error_Handler();
  }
  if (HAL_UARTEx_SetTxFifoThreshold(&huart2, UART_TXFIFO_THRESHOLD_1_8) != HAL_OK)
  {
    Error_Handler();
  }
  if (HAL_UARTEx_SetRxFifoThreshold(&huart2, UART_RXFIFO_THRESHOLD_1_8) != HAL_OK)
  {
    Error_Handler();
  }
  if (HAL_UARTEx_DisableFifoMode(&huart2) != HAL_OK)
  {
    Error_Handler();
  }

}

static void MX_DMA_Init(void)
{

  /* DMA controller clock enable */
  __HAL_RCC_DMAMUX1_CLK_ENABLE();
  __HAL_RCC_DMA1_CLK_ENABLE();

  /* DMA interrupt init */
  /* DMA1_Channel1_IRQn interrupt configuration */
  HAL_NVIC_SetPriority(DMA1_Channel1_IRQn, 0, 0);
  HAL_NVIC_EnableIRQ(DMA1_Channel1_IRQn);
  /* DMA1_Channel2_IRQn interrupt configuration */
  HAL_NVIC_SetPriority(DMA1_Channel2_IRQn, 0, 0);
  HAL_NVIC_EnableIRQ(DMA1_Channel2_IRQn);
  /* DMA1_Channel3_IRQn interrupt configuration */
  HAL_NVIC_SetPriority(DMA1_Channel3_IRQn, 0, 0);
  HAL_NVIC_EnableIRQ(DMA1_Channel3_IRQn);
  /* DMA1_Channel4_IRQn interrupt configuration */
  HAL_NVIC_SetPriority(DMA1_Channel4_IRQn, 0, 0);
  HAL_NVIC_EnableIRQ(DMA1_Channel4_IRQn);

}

static void MX_GPIO_Init(void)
{
  GPIO_InitTypeDef GPIO_InitStruct = {0};

  /* GPIO Ports Clock Enable */
  __HAL_RCC_GPIOC_CLK_ENABLE();
  __HAL_RCC_GPIOF_CLK_ENABLE();
  __HAL_RCC_GPIOA_CLK_ENABLE();
  __HAL_RCC_GPIOB_CLK_ENABLE();

  /*Configure GPIO pin Output Level */
  HAL_GPIO_WritePin(GPIOC, CAN_TERM_Pin|STATUS_Pin|CAN_SHDN_Pin, GPIO_PIN_RESET);

  /*Configure GPIO pins : CAN_TERM_Pin STATUS_Pin CAN_SHDN_Pin */
  GPIO_InitStruct.Pin = CAN_TERM_Pin|STATUS_Pin|CAN_SHDN_Pin;
  GPIO_InitStruct.Mode = GPIO_MODE_OUTPUT_PP;
  GPIO_InitStruct.Pull = GPIO_NOPULL;
  GPIO_InitStruct.Speed = GPIO_SPEED_FREQ_LOW;
  HAL_GPIO_Init(GPIOC, &GPIO_InitStruct);

  /*Configure GPIO pin : BUTTON_Pin */
  GPIO_InitStruct.Pin = BUTTON_Pin;
  GPIO_InitStruct.Mode = GPIO_MODE_INPUT;
  GPIO_InitStruct.Pull = GPIO_NOPULL;
  HAL_GPIO_Init(BUTTON_GPIO_Port, &GPIO_InitStruct);

}

void Error_Handler(void)
{
  __disable_irq();
  while (1)
  {
  }
}
